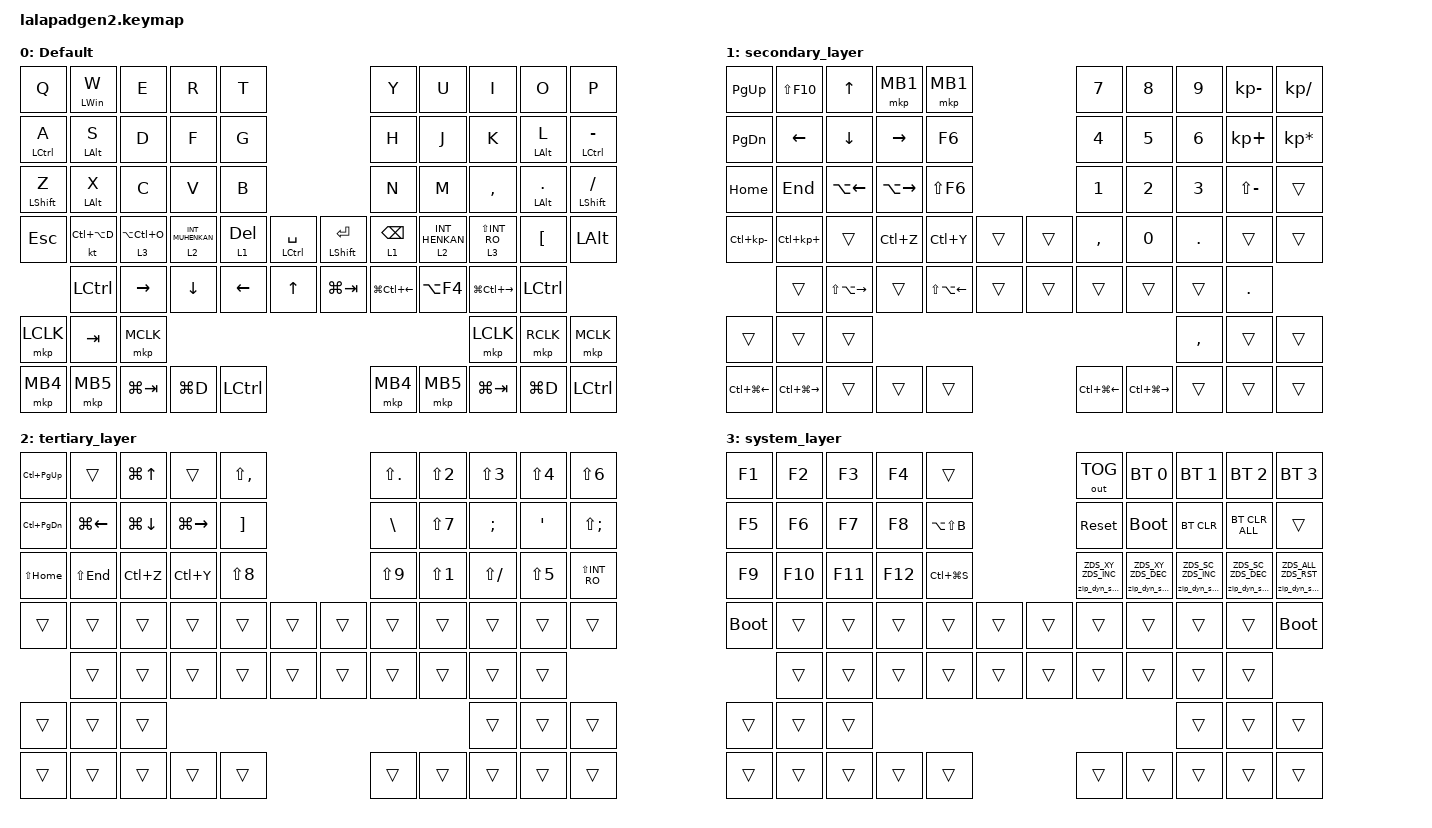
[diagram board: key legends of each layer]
#include <input/processors.dtsi>
#include <dt-bindings/zmk/zip_dynamic_scale.h>
#include <behaviors.dtsi>
#include <dt-bindings/zmk/bt.h>
#include <dt-bindings/zmk/keys.h>
#include <dt-bindings/zmk/outputs.h>
#include <dt-bindings/zmk/pointing.h>

#define DEFAULT_LAYER   0
#define SECONDARY_LAYER 1
#define TERTIARY_LAYER  2
#define SYSTEM_LAYER    3

&mt {
    quick-tap-ms = <200>;
    flavor = "tap-preferred";
};

&lt { quick-tap-ms = <200>; };

/ {
    behaviors {
        zip_dyn_scale: zip_dyn_scale {
            compatible = "zmk,behavior-zip-dynamic-scale";
            #binding-cells = <2>;
        };

        zip_dyn_scale_set: zip_dyn_scale_set {
            compatible = "zmk,behavior-zip-dynamic-scale-set";
            #binding-cells = <2>;
        };
    };

    combos {
        compatible = "zmk,combos";

        CONBO_ESC {
            bindings = <&kp ESCAPE>;
            key-positions = <33 34>;
        };

        COMBO_alt {
            bindings = <&kp LEFT_ALT>;
            key-positions = <16 15>;
        };
    };

    macros {
        downloadfolder: downloadfolder {
            compatible = "zmk,behavior-macro";
            #binding-cells = <0>;
            bindings =
                <&kt LG(R)>,
                <&macro_wait_time 700>,
                <&kp S>,
                <&macro_wait_time 10>,
                <&kp H &kp E &kp L &kp L &kp SQT &kp LS(D) &kp O &kp W &kp N &kp L &kp O &kp A &kp D &kp S &kp ENTER>;

            label = "DOWNLOADFOLDER";
        };

        onedrive: onedrive {
            compatible = "zmk,behavior-macro";
            #binding-cells = <0>;
            bindings =
                <&kp LG(R)>,
                <&macro_wait_time 700>,
                <&kp PRCNT>,
                <&macro_wait_time 10>,
                <&kp LS(O) &kp N &kp E &kp LS(D) &kp R &kp I &kp V &kp E &kp LS(C) &kp O &kp M &kp M &kp E &kp R &kp C &kp I &kp A &kp L &kp PRCNT &kp ENTER>;

            label = "ONEDRIVE";
        };
    };

    keymap {
        compatible = "zmk,keymap";

        DEFAULT_LAYER {
            display-name = "Default";
            bindings = <
&kp Q             &mt LEFT_WIN W  &kp E            &kp R               &kp T                                             &kp Y             &kp U             &kp I              &kp O             &kp P
&mt LCTRL A       &mt LALT S      &kp D            &kp F               &kp G                                             &kp H             &kp J             &kp K              &mt LALT L        &mt LCTRL MINUS
&mt LEFT_SHIFT Z  &mt LALT X      &kp C            &kp V               &kp B                                             &kp N             &kp M             &kp COMMA          &mt LALT PERIOD   &mt LSHFT SLASH
&kp ESCAPE        &kt LC(LA(D))   &lt 3 LA(LC(O))  &lt 2 INT_MUHENKAN  &lt 1 DEL  &mt LCTRL SPACE  &mt LEFT_SHIFT ENTER  &lt 1 BACKSPACE   &lt 2 INT_HENKAN  &lt 3 LS(INT_RO)   &kp LEFT_BRACKET  &kp LEFT_ALT
                  &kp LCTRL       &kp RIGHT        &kp DOWN            &kp LEFT   &kp UP           &kp LG(TAB)           &kp LG(LC(LEFT))  &kp LA(F4)        &kp LG(LC(RIGHT))  &kp LCTRL
&mkp LCLK         &kp TAB         &mkp MCLK                                                                                                                  &mkp LCLK          &mkp RCLK         &mkp MCLK
&mkp MB4          &mkp MB5        &kp LG(TAB)      &kp LG(D)           &kp LCTRL                                         &mkp MB4          &mkp MB5          &kp LG(TAB)        &kp LG(D)         &kp LCTRL
            >;
        };

        SECONDARY_LAYER {
            display-name = "secondary_layer";
            bindings = <
&kp PAGE_UP       &kp LS(F10)        &kp UP_ARROW        &mkp MB1       &mkp MB1                          &kp N7            &kp N8             &kp N9        &kp KP_MINUS   &kp KP_SLASH
&kp PAGE_DOWN     &kp LEFT_ARROW     &kp DOWN_ARROW      &kp RIGHT      &kp F6                            &kp NUMBER_4      &kp N5             &kp NUMBER_6  &kp KP_PLUS    &kp KP_ASTERISK
&kp HOME          &kp END            &kp LA(LEFT_ARROW)  &kp LA(RIGHT)  &kp LS(F6)                        &kp NUMBER_1      &kp NUMBER_2       &kp NUMBER_3  &kp LS(MINUS)  &trans
&kp LC(KP_MINUS)  &kp LC(KP_PLUS)    &trans              &kp LC(Z)      &kp LC(Y)         &trans  &trans  &kp COMMA         &kp N0             &kp PERIOD    &trans         &trans
                  &trans             &kp LS(LA(RIGHT))   &trans         &kp LS(LA(LEFT))  &trans  &trans  &trans            &trans             &trans        &kp PERIOD
&trans            &trans             &trans                                                                                                    &kp COMMA     &trans         &trans
&kp LC(LG(LEFT))  &kp LC(LG(RIGHT))  &trans              &trans         &trans                            &kp LC(LG(LEFT))  &kp LC(LG(RIGHT))  &trans        &trans         &trans
            >;
        };

        TERTIARY_LAYER {
            display-name = "tertiary_layer";
            bindings = <
&kp LC(PAGE_UP)    &trans        &kp LG(UP_ARROW)    &trans         &kp LS(COMMA)                      &kp LS(PERIOD)  &kp LS(NUMBER_2)  &kp LS(NUMBER_3)  &kp LS(NUMBER_4)  &kp LS(NUMBER_6)
&kp LC(PAGE_DOWN)  &kp LG(LEFT)  &kp LG(DOWN_ARROW)  &kp LG(RIGHT)  &kp RIGHT_BRACKET                  &kp BSLH        &kp LS(N7)        &kp SEMICOLON     &kp SINGLE_QUOTE  &kp LS(SEMICOLON)
&kp LS(HOME)       &kp LS(END)   &kp LC(Z)           &kp LC(Y)      &kp LS(N8)                         &kp LS(N9)      &kp LS(NUMBER_1)  &kp LS(SLASH)     &kp LS(N5)        &kp LS(INT_RO)
&trans             &trans        &trans              &trans         &trans             &trans  &trans  &trans          &trans            &trans            &trans            &trans
                   &trans        &trans              &trans         &trans             &trans  &trans  &trans          &trans            &trans            &trans
&trans             &trans        &trans                                                                                                  &trans            &trans            &trans
&trans             &trans        &trans              &trans         &trans                             &trans          &trans            &trans            &trans            &trans
            >;
        };

        FUNCTION_LAYER {
            display-name = "system_layer";
            bindings = <
&kp F1       &kp F2   &kp F3   &kp F4   &trans                         &out OUT_TOG                   &bt BT_SEL 0                   &bt BT_SEL 1                   &bt BT_SEL 2                   &bt BT_SEL 3
&kp F5       &kp F6   &kp F7   &kp F8   &kp LA(LS(B))                  &sys_reset                     &bootloader                    &bt BT_CLR                     &bt BT_CLR_ALL                 &trans
&kp F9       &kp F10  &kp F11  &kp F12  &kp LC(LG(S))                  &zip_dyn_scale ZDS_XY ZDS_INC  &zip_dyn_scale ZDS_XY ZDS_DEC  &zip_dyn_scale ZDS_SC ZDS_INC  &zip_dyn_scale ZDS_SC ZDS_DEC  &zip_dyn_scale ZDS_ALL ZDS_RST
&bootloader  &trans   &trans   &trans   &trans         &trans  &trans  &trans                         &trans                         &trans                         &trans                         &bootloader
             &trans   &trans   &trans   &trans         &trans  &trans  &trans                         &trans                         &trans                         &trans
&trans       &trans   &trans                                                                                                         &trans                         &trans                         &trans
&trans       &trans   &trans   &trans   &trans                         &trans                         &trans                         &trans                         &trans                         &trans
            >;
        };
    };

    conditional_layers { compatible = "zmk,conditional-layers"; };
};
